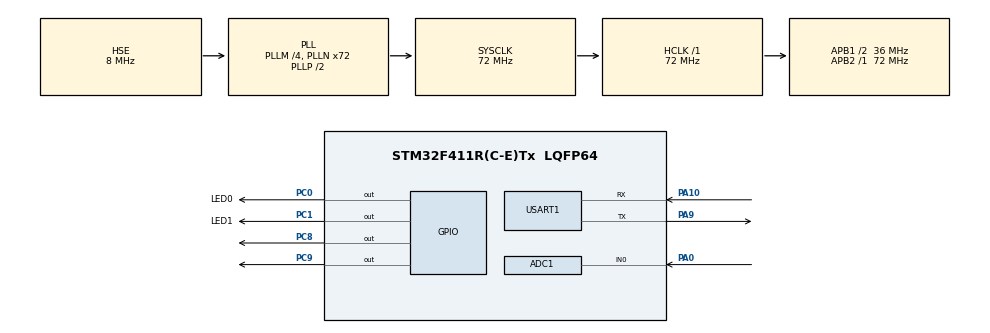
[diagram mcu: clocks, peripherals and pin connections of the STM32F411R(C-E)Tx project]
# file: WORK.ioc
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ADC1.Channel-7\#ChannelRegularConversion=ADC_CHANNEL_0
ADC1.ContinuousConvMode=ENABLE
ADC1.NbrOfConversionFlag=1
ADC1.Rank-7\#ChannelRegularConversion=1
ADC1.SamplingTime-7\#ChannelRegularConversion=ADC_SAMPLETIME_15CYCLES
ADC1.ScanConvMode=ENABLE
ADC1.master=1
Mcu.Family=STM32F4
Mcu.Name=STM32F411R(C-E)Tx
Mcu.Package=LQFP64
NVIC.PriorityGroup=NVIC_PRIORITYGROUP_4
NVIC.USART1_IRQn=true\:1\:0\:true\:false\:true\:true\:true\:true
PA0-WKUP.Signal=ADCx_IN0
PA10.Mode=Asynchronous
PA10.Signal=USART1_RX
PA9.Mode=Asynchronous
PA9.Signal=USART1_TX
PC0.GPIO_Label=LED0
PC0.GPIO_PuPd=GPIO_PULLUP
PC0.GPIO_Speed=GPIO_SPEED_FREQ_HIGH
PC0.PinState=GPIO_PIN_SET
PC0.Signal=GPIO_Output
PC1.GPIO_Label=LED1
PC1.GPIO_PuPd=GPIO_PULLUP
PC1.GPIO_Speed=GPIO_SPEED_FREQ_HIGH
PC1.PinState=GPIO_PIN_SET
PC1.Signal=GPIO_Output
PC14-OSC32_IN.Mode=LSE-External-Oscillator
PC14-OSC32_IN.Signal=RCC_OSC32_IN
PC15-OSC32_OUT.Mode=LSE-External-Oscillator
PC15-OSC32_OUT.Signal=RCC_OSC32_OUT
PC8.GPIO_Speed=GPIO_SPEED_FREQ_HIGH
PC8.PinState=GPIO_PIN_SET
PC8.Signal=GPIO_Output
PC9.GPIO_Speed=GPIO_SPEED_FREQ_HIGH
PC9.PinState=GPIO_PIN_SET
PC9.Signal=GPIO_Output
PH0\ -\ OSC_IN.Mode=HSE-External-Oscillator
PH0\ -\ OSC_IN.Signal=RCC_OSC_IN
PH1\ -\ OSC_OUT.Mode=HSE-External-Oscillator
PH1\ -\ OSC_OUT.Signal=RCC_OSC_OUT
ProjectManager.HeapSize=0x200
ProjectManager.StackSize=0x400
ProjectManager.TargetToolchain=MDK-ARM V5
RCC.48MHZClocksFreq_Value=36000000
RCC.AHBFreq_Value=72000000
RCC.APB1CLKDivider=RCC_HCLK_DIV2
RCC.APB1Freq_Value=36000000
RCC.APB1TimFreq_Value=72000000
RCC.APB2Freq_Value=72000000
RCC.APB2TimFreq_Value=72000000
RCC.CortexFreq_Value=72000000
RCC.HCLKFreq_Value=72000000
RCC.HSE_VALUE=8000000
RCC.HSI_VALUE=16000000
RCC.PLLM=4
RCC.PLLN=72
RCC.PLLSourceVirtual=RCC_PLLSOURCE_HSE
RCC.SYSCLKFreq_VALUE=72000000
RCC.SYSCLKSource=RCC_SYSCLKSOURCE_PLLCLK
RCC.VCOOutputFreq_Value=144000000
SH.ADCx_IN0.0=ADC1_IN0,IN0
USART1.VirtualMode=VM_ASYNC
board=custom

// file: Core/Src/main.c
/* USER CODE BEGIN Header */
/**
  ******************************************************************************
  * @file           : main.c
  * @brief          : Main program body
  ******************************************************************************
  * @attention
  *
  * Copyright (c) 2023 STMicroelectronics.
  * All rights reserved.
  *
  * This software is licensed under terms that can be found in the LICENSE file
  * in the root directory of this software component.
  * If no LICENSE file comes with this software, it is provided AS-IS.
  *
  ******************************************************************************
  */
/* USER CODE END Header */
#include "main.h"

/* USER CODE BEGIN Includes */
#include <led.h>
#include <usart.h>
#include <mpu.h>
//#include <oled.h>
#include <stdlib.h>
#include <stdio.h>
/* USER CODE END Includes */

/* USER CODE BEGIN PD */
uint8_t ID;
int16_t AX, AY, AZ, GX, GY, GZ;
unsigned char ax[5] = {0};
uint16_t ADC_Value;
float DVV;
int R;
float LX;
uint8_t rx_data[2];
/* USER CODE END PD */

ADC_HandleTypeDef hadc1;

UART_HandleTypeDef huart1;

void SystemClock_Config(void);
static void MX_GPIO_Init(void);
static void MX_USART1_UART_Init(void);
static void MX_ADC1_Init(void);
/* USER CODE BEGIN PFP */
char *myitoa(int num,unsigned char *str,int radix) ;
/* USER CODE END PFP */

/* USER CODE BEGIN 0 */
   //HAL_UART_Receive_IT(&huart1,rx_data, 2);
/* USER CODE END 0 */

int main(void)
{

  /* MCU Configuration--------------------------------------------------------*/

  /* Reset of all peripherals, Initializes the Flash interface and the Systick. */
  HAL_Init();

  /* Configure the system clock */
  SystemClock_Config();

  /* Initialize all configured peripherals */
  MX_GPIO_Init();
  MX_USART1_UART_Init();
  MX_ADC1_Init();
  /* USER CODE BEGIN 2 */
	//OLED_Init();
	//OLED_DrawBMP(0, 0,128, 8, BMP);	//显示图片
	//HAL_Delay(2000);   //显示延时
	//OLED_Clear();	    //清除

	//OLED_ShowNum(0,2,1234,4,8);	//纯数值显示

	//OLED_ShowString(1,1,"clear sky",16);		//送显示
	//OLED_Clear();
	HAL_Delay(1000);
	//printf("stm32 is ok\n");
	MPU6050_Init();
	ID = MPU6050_GetID();

  HAL_UART_Receive_IT(&huart1,rx_data, 2);
	LED1_ON();
	printf("stm32 is ok\n");
  /* USER CODE END 2 */

  /* Infinite loop */
  while (1)
  {

    /* USER CODE BEGIN 3 */
		HAL_ADC_Start(&hadc1);;
    HAL_ADC_PollForConversion(&hadc1,1);
    ADC_Value=HAL_ADC_GetValue(&hadc1);
    printf("ADC的模拟量是%4d\n",ADC_Value);
		DVV = (ADC_Value/4096.0)*3.3;
		printf("数字量是%f\n",DVV);
		R=10240000/(1.1*ADC_Value)-2500;
		LX = (R/100)*20/100.0;
		printf("电阻是%d\n",R);
		printf("光强度是%f\n",LX);

		//HAL_Delay(10);
		MPU6050_GetData(&AX, &AY, &AZ, &GX, &GY, &GZ);
	  //OLED_ShowString(20,20,ax,16);
		//OLED_ShowString(3,4,,8);
		//myitoa(AX,ax,10);
		//OLED_ShowString(3,4,ax,16);
		//OLED_ShowNum(0,0,AZ,5,16);
		//OLED_ShowNum(0,0,AY,5,16);
	  //OLED_ShowNum(40,30,AZ,4,16);

		printf("AX: %d\n",AX);
		printf("AY: %d\n",AY);
		printf("AZ: %d\n",AZ);
		printf("GX: %d\n",GX);
		printf("GY: %d\n",GY);
		printf("GZ: %d\n",GZ);
		//HAL_Delay(1000);
  }
  /* USER CODE END 3 */
}

void SystemClock_Config(void)
{
  RCC_OscInitTypeDef RCC_OscInitStruct = {0};
  RCC_ClkInitTypeDef RCC_ClkInitStruct = {0};

  /** Configure the main internal regulator output voltage
  */
  __HAL_RCC_PWR_CLK_ENABLE();
  __HAL_PWR_VOLTAGESCALING_CONFIG(PWR_REGULATOR_VOLTAGE_SCALE1);

  /** Initializes the RCC Oscillators according to the specified parameters
  * in the RCC_OscInitTypeDef structure.
  */
  RCC_OscInitStruct.OscillatorType = RCC_OSCILLATORTYPE_HSE;
  RCC_OscInitStruct.HSEState = RCC_HSE_ON;
  RCC_OscInitStruct.PLL.PLLState = RCC_PLL_ON;
  RCC_OscInitStruct.PLL.PLLSource = RCC_PLLSOURCE_HSE;
  RCC_OscInitStruct.PLL.PLLM = 4;
  RCC_OscInitStruct.PLL.PLLN = 72;
  RCC_OscInitStruct.PLL.PLLP = RCC_PLLP_DIV2;
  RCC_OscInitStruct.PLL.PLLQ = 4;
  if (HAL_RCC_OscConfig(&RCC_OscInitStruct) != HAL_OK)
  {
    Error_Handler();
  }

  /** Initializes the CPU, AHB and APB buses clocks
  */
  RCC_ClkInitStruct.ClockType = RCC_CLOCKTYPE_HCLK|RCC_CLOCKTYPE_SYSCLK
                              |RCC_CLOCKTYPE_PCLK1|RCC_CLOCKTYPE_PCLK2;
  RCC_ClkInitStruct.SYSCLKSource = RCC_SYSCLKSOURCE_PLLCLK;
  RCC_ClkInitStruct.AHBCLKDivider = RCC_SYSCLK_DIV1;
  RCC_ClkInitStruct.APB1CLKDivider = RCC_HCLK_DIV2;
  RCC_ClkInitStruct.APB2CLKDivider = RCC_HCLK_DIV1;

  if (HAL_RCC_ClockConfig(&RCC_ClkInitStruct, FLASH_LATENCY_2) != HAL_OK)
  {
    Error_Handler();
  }
}

static void MX_ADC1_Init(void)
{

  ADC_ChannelConfTypeDef sConfig = {0};

  /** Configure the global features of the ADC (Clock, Resolution, Data Alignment and number of conversion)
  */
  hadc1.Instance = ADC1;
  hadc1.Init.ClockPrescaler = ADC_CLOCK_SYNC_PCLK_DIV2;
  hadc1.Init.Resolution = ADC_RESOLUTION_12B;
  hadc1.Init.ScanConvMode = ENABLE;
  hadc1.Init.ContinuousConvMode = ENABLE;
  hadc1.Init.DiscontinuousConvMode = DISABLE;
  hadc1.Init.ExternalTrigConvEdge = ADC_EXTERNALTRIGCONVEDGE_NONE;
  hadc1.Init.ExternalTrigConv = ADC_SOFTWARE_START;
  hadc1.Init.DataAlign = ADC_DATAALIGN_RIGHT;
  hadc1.Init.NbrOfConversion = 1;
  hadc1.Init.DMAContinuousRequests = DISABLE;
  hadc1.Init.EOCSelection = ADC_EOC_SINGLE_CONV;
  if (HAL_ADC_Init(&hadc1) != HAL_OK)
  {
    Error_Handler();
  }

  /** Configure for the selected ADC regular channel its corresponding rank in the sequencer and its sample time.
  */
  sConfig.Channel = ADC_CHANNEL_0;
  sConfig.Rank = 1;
  sConfig.SamplingTime = ADC_SAMPLETIME_15CYCLES;
  if (HAL_ADC_ConfigChannel(&hadc1, &sConfig) != HAL_OK)
  {
    Error_Handler();
  }

}

static void MX_USART1_UART_Init(void)
{

  huart1.Instance = USART1;
  huart1.Init.BaudRate = 115200;
  huart1.Init.WordLength = UART_WORDLENGTH_8B;
  huart1.Init.StopBits = UART_STOPBITS_1;
  huart1.Init.Parity = UART_PARITY_NONE;
  huart1.Init.Mode = UART_MODE_TX_RX;
  huart1.Init.HwFlowCtl = UART_HWCONTROL_NONE;
  huart1.Init.OverSampling = UART_OVERSAMPLING_16;
  if (HAL_UART_Init(&huart1) != HAL_OK)
  {
    Error_Handler();
  }

}

static void MX_GPIO_Init(void)
{
  GPIO_InitTypeDef GPIO_InitStruct = {0};

  /* GPIO Ports Clock Enable */
  __HAL_RCC_GPIOC_CLK_ENABLE();
  __HAL_RCC_GPIOH_CLK_ENABLE();
  __HAL_RCC_GPIOA_CLK_ENABLE();

  /*Configure GPIO pin Output Level */
  HAL_GPIO_WritePin(GPIOC, LED0_Pin|LED1_Pin|GPIO_PIN_8|GPIO_PIN_9, GPIO_PIN_SET);

  /*Configure GPIO pins : LED0_Pin LED1_Pin */
  GPIO_InitStruct.Pin = LED0_Pin|LED1_Pin;
  GPIO_InitStruct.Mode = GPIO_MODE_OUTPUT_PP;
  GPIO_InitStruct.Pull = GPIO_PULLUP;
  GPIO_InitStruct.Speed = GPIO_SPEED_FREQ_HIGH;
  HAL_GPIO_Init(GPIOC, &GPIO_InitStruct);

  /*Configure GPIO pins : PC8 PC9 */
  GPIO_InitStruct.Pin = GPIO_PIN_8|GPIO_PIN_9;
  GPIO_InitStruct.Mode = GPIO_MODE_OUTPUT_PP;
  GPIO_InitStruct.Pull = GPIO_NOPULL;
  GPIO_InitStruct.Speed = GPIO_SPEED_FREQ_HIGH;
  HAL_GPIO_Init(GPIOC, &GPIO_InitStruct);

}

/* USER CODE BEGIN 4 */
char *myitoa(int num,unsigned char *str,int radix)
{
	/* 索引表 */
	char index[]="0123456789ABCDEFGHIJKLMNOPQRSTUVWXYZ";
	unsigned unum; /* 中间变量 */
	int i=0,j,k;
	/* 确定unum的值 */
	if(radix==10&&num<0) /* 十进制负数 */
	{
		unum=(unsigned)-num;
		str[i++]='-';
	}
	else unum=(unsigned)num; /* 其它情况 */
	/* 逆序 */
	do
	{
		str[i++]=index[unum%(unsigned)radix];
		unum/=radix;
	}while(unum);
	str[i]='\0';
	/* 转换 */
	if(str[0]=='-') k=1; /* 十进制负数 */
	else k=0;
	/* 将原来的“/2”改为“/2.0”，保证当num在16~255之间，radix等于16时，也能得到正确结果 */
	char temp;
	for(j=k;j<=(i-k-1)/2.0;j++)
	{
		temp=str[j];
		str[j]=str[i-j-1];
		str[i-j-1]=temp;
	}
	return str;
}
/* USER CODE END 4 */

void Error_Handler(void)
{
  __disable_irq();
  while (1)
  {
  }
}
